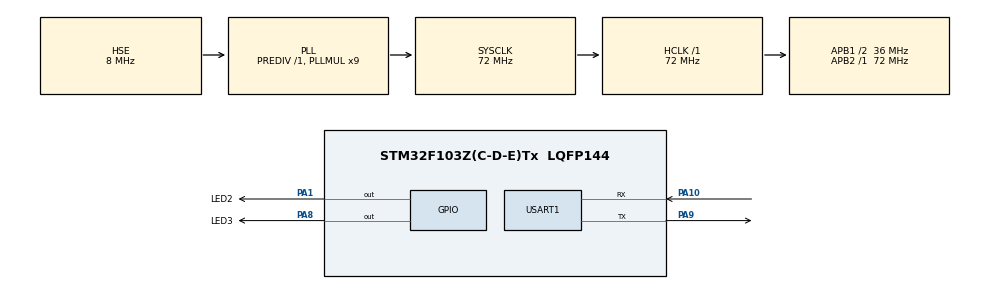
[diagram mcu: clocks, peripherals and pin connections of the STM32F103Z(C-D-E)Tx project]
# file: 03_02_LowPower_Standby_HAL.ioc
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Mcu.Family=STM32F1
Mcu.Name=STM32F103Z(C-D-E)Tx
Mcu.Package=LQFP144
NVIC.PriorityGroup=NVIC_PRIORITYGROUP_4
NVIC.USART1_IRQn=true\:5\:0\:true\:false\:true\:true\:true\:true
OSC_IN.Mode=HSE-External-Oscillator
OSC_IN.Signal=RCC_OSC_IN
OSC_OUT.Mode=HSE-External-Oscillator
OSC_OUT.Signal=RCC_OSC_OUT
PA0-WKUP.Mode=SYS_WakeUp0
PA0-WKUP.Signal=SYS_WKUP
PA1.GPIO_Label=LED2
PA1.GPIO_Speed=GPIO_SPEED_FREQ_HIGH
PA1.PinState=GPIO_PIN_SET
PA1.Signal=GPIO_Output
PA10.Mode=Asynchronous
PA10.Signal=USART1_RX
PA13.Mode=Serial_Wire
PA13.Signal=SYS_JTMS-SWDIO
PA14.Mode=Serial_Wire
PA14.Signal=SYS_JTCK-SWCLK
PA8.GPIO_Label=LED3
PA8.GPIO_Speed=GPIO_SPEED_FREQ_HIGH
PA8.PinState=GPIO_PIN_SET
PA8.Signal=GPIO_Output
PA9.Mode=Asynchronous
PA9.Signal=USART1_TX
PC14-OSC32_IN.Mode=LSE-External-Oscillator
PC14-OSC32_IN.Signal=RCC_OSC32_IN
PC15-OSC32_OUT.Mode=LSE-External-Oscillator
PC15-OSC32_OUT.Signal=RCC_OSC32_OUT
ProjectManager.HeapSize=0x200
ProjectManager.StackSize=0x400
ProjectManager.TargetToolchain=MDK-ARM V5.32
RCC.ADCPresc=RCC_ADCPCLK2_DIV6
RCC.AHBFreq_Value=72000000
RCC.APB1CLKDivider=RCC_HCLK_DIV2
RCC.APB1Freq_Value=36000000
RCC.APB1TimFreq_Value=72000000
RCC.APB2Freq_Value=72000000
RCC.APB2TimFreq_Value=72000000
RCC.HCLKFreq_Value=72000000
RCC.PLLMUL=RCC_PLL_MUL9
RCC.PLLSourceVirtual=RCC_PLLSOURCE_HSE
RCC.SYSCLKFreq_VALUE=72000000
RCC.SYSCLKSource=RCC_SYSCLKSOURCE_PLLCLK
RCC.USBFreq_Value=72000000
USART1.VirtualMode=VM_ASYNC
board=custom

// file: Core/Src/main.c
/* USER CODE BEGIN Header */
/**
  ******************************************************************************
  * @file           : main.c
  * @brief          : Main program body
  ******************************************************************************
  * @attention
  *
  * Copyright (c) 2025 STMicroelectronics.
  * All rights reserved.
  *
  * This software is licensed under terms that can be found in the LICENSE file
  * in the root directory of this software component.
  * If no LICENSE file comes with this software, it is provided AS-IS.
  *
  ******************************************************************************
  */
/* USER CODE END Header */
#include "main.h"
#include "usart.h"
#include "gpio.h"

void SystemClock_Config(void);

int main(void)
{

  /* MCU Configuration--------------------------------------------------------*/

  /* Reset of all peripherals, Initializes the Flash interface and the Systick. */
  HAL_Init();

  /* Configure the system clock */
  SystemClock_Config();

  /* Initialize all configured peripherals */
  MX_GPIO_Init();
  MX_USART1_UART_Init();
  /* USER CODE BEGIN 2 */

  // printf("STM32 LowPower Stop HAL \n");

  // 判断 WUF 标志位
  if(__HAL_PWR_GET_FLAG(PWR_FLAG_WU) == SET)
  {
    printf ("Wakeup from Standby Mode \n");

    // 清除 WUF 标志位
    __HAL_PWR_CLEAR_FLAG(PWR_FLAG_WU);
  }else{
    printf ("Application Start \n");
  }

  // 点亮 LED2
  HAL_GPIO_WritePin(LED2_GPIO_Port, LED2_Pin, GPIO_PIN_RESET);

  printf("5s Standby... ");
  HAL_Delay(5000);
  printf("Standby... \n");
  HAL_Delay(1); //保证打印完成

  // 进入低功耗模式前使能WKUP引脚
  HAL_PWR_EnableWakeUpPin(PWR_WAKEUP_PIN1);
  // 进入Standby低功耗模式(使用 WKUP引脚 唤醒) (唤醒后从头开始执行 ,此句后面的都不会再执行)
  HAL_PWR_EnterSTANDBYMode();

  printf("wakeup \n");

  /* USER CODE END 2 */

  /* Infinite loop */
  while (1)
  {

    /* USER CODE BEGIN 3 */

    // 闪烁 LED2
    HAL_GPIO_TogglePin(LED2_GPIO_Port, LED2_Pin);
    HAL_Delay(500);

  }
  /* USER CODE END 3 */
}

void SystemClock_Config(void)
{
  RCC_OscInitTypeDef RCC_OscInitStruct = {0};
  RCC_ClkInitTypeDef RCC_ClkInitStruct = {0};

  /** Initializes the RCC Oscillators according to the specified parameters
  * in the RCC_OscInitTypeDef structure.
  */
  RCC_OscInitStruct.OscillatorType = RCC_OSCILLATORTYPE_HSE;
  RCC_OscInitStruct.HSEState = RCC_HSE_ON;
  RCC_OscInitStruct.HSEPredivValue = RCC_HSE_PREDIV_DIV1;
  RCC_OscInitStruct.HSIState = RCC_HSI_ON;
  RCC_OscInitStruct.PLL.PLLState = RCC_PLL_ON;
  RCC_OscInitStruct.PLL.PLLSource = RCC_PLLSOURCE_HSE;
  RCC_OscInitStruct.PLL.PLLMUL = RCC_PLL_MUL9;
  if (HAL_RCC_OscConfig(&RCC_OscInitStruct) != HAL_OK)
  {
    Error_Handler();
  }

  /** Initializes the CPU, AHB and APB buses clocks
  */
  RCC_ClkInitStruct.ClockType = RCC_CLOCKTYPE_HCLK|RCC_CLOCKTYPE_SYSCLK
                              |RCC_CLOCKTYPE_PCLK1|RCC_CLOCKTYPE_PCLK2;
  RCC_ClkInitStruct.SYSCLKSource = RCC_SYSCLKSOURCE_PLLCLK;
  RCC_ClkInitStruct.AHBCLKDivider = RCC_SYSCLK_DIV1;
  RCC_ClkInitStruct.APB1CLKDivider = RCC_HCLK_DIV2;
  RCC_ClkInitStruct.APB2CLKDivider = RCC_HCLK_DIV1;

  if (HAL_RCC_ClockConfig(&RCC_ClkInitStruct, FLASH_LATENCY_2) != HAL_OK)
  {
    Error_Handler();
  }
}

void Error_Handler(void)
{
  __disable_irq();
  while (1)
  {
  }
}
